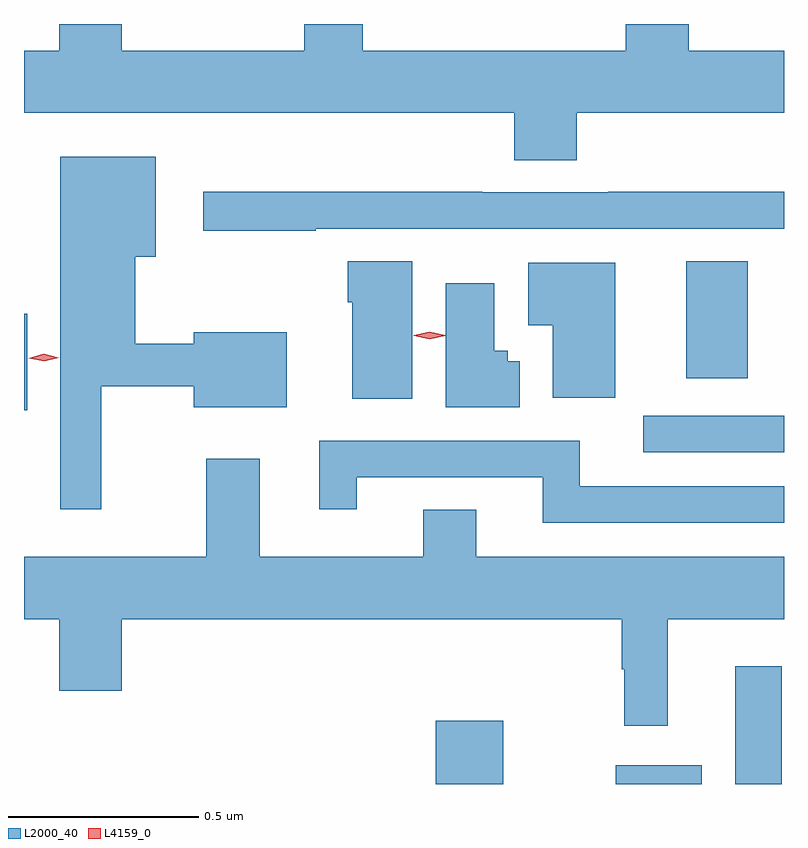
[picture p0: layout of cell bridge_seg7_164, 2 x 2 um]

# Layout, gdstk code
import gdstk
lib = gdstk.Library(unit=1e-6, precision=1e-09)
def R(c, l, rs):  # rectangles x0, y0, x1, y1
    for r in rs: c.add(gdstk.rectangle(r[:2], r[2:], *l))
def P(c, l, *ps):  # polygons
    for p in ps: c.add(gdstk.Polygon(p, *l))
L2000_40 = (2000, 40)
L4159_0 = (4159, 0)

bridge_seg7_164 = lib.new_cell('bridge_seg7_164')
R(bridge_seg7_164, L2000_40, [(477.686,1074.774,477.864,1074.94), (478.16,1074.774,478.387,1074.823), (478.475,1074.774,478.597,1075.084), (478.233,1075.647,478.603,1075.743), (476.603,1075.757,476.611,1076.011), (478.346,1075.842,478.507,1076.15)])
P(bridge_seg7_164, L2000_40, [(478.058,1076.54),(478.603,1076.54),(478.603,1076.704),(478.352,1076.704),(478.352,1076.774),(478.187,1076.774),(478.187,1076.704),(477.494,1076.704),(477.494,1076.774),(477.341,1076.774),(477.341,1076.704),(476.86,1076.704),(476.86,1076.774),(476.696,1076.774),(476.696,1076.704),(476.603,1076.704),(476.603,1076.54),(477.893,1076.54),(477.893,1076.416),(478.058,1076.416)],
  [(476.806,1075.821),(477.05,1075.821),(477.05,1075.766),(477.295,1075.766),(477.295,1075.963),(477.05,1075.963),(477.05,1075.932),(476.896,1075.932),(476.896,1076.162),(476.95,1076.162),(476.95,1076.425),(476.699,1076.425),(476.699,1075.497),(476.806,1075.497)],
  [(477.371,1076.235),(478.603,1076.235),(478.603,1076.333),(478.141,1076.333),(478.141,1076.331),(477.809,1076.331),(477.809,1076.333),(477.075,1076.333),(477.075,1076.23),(477.371,1076.23)],
  [(477.625,1076.15),(477.455,1076.15),(477.455,1076.042),(477.467,1076.042),(477.467,1075.788),(477.625,1075.788)],
  [(478.159,1076.146),(477.93,1076.146),(477.93,1075.981),(477.995,1075.981),(477.995,1075.791),(478.159,1075.791)],
  [(477.907,1075.886),(477.876,1075.886),(477.876,1075.914),(477.841,1075.914),(477.841,1076.092),(477.713,1076.092),(477.713,1075.766),(477.907,1075.766)],
  [(478.603,1075.557),(478.066,1075.557),(478.066,1075.677),(477.38,1075.677),(477.38,1075.497),(477.478,1075.497),(477.478,1075.581),(477.968,1075.581),(477.968,1075.461),(478.603,1075.461)],
  [(478.297,1075.208),(478.603,1075.208),(478.603,1075.372),(477.793,1075.372),(477.793,1075.496),(477.653,1075.496),(477.653,1075.372),(477.223,1075.372),(477.223,1075.63),(477.083,1075.63),(477.083,1075.372),(476.603,1075.372),(476.603,1075.208),(476.696,1075.208),(476.696,1075.02),(476.86,1075.02),(476.86,1075.208),(478.176,1075.208),(478.176,1075.076),(478.183,1075.076),(478.183,1074.927),(478.297,1074.927)])
P(bridge_seg7_164, L4159_0, [(477.671,1075.944),(477.629,1075.954),(477.629,1075.954),(477.629,1075.955),(477.671,1075.964),(477.712,1075.955),(477.712,1075.954),(477.712,1075.954)],
  [(476.656,1075.886),(476.616,1075.895),(476.616,1075.895),(476.616,1075.895),(476.655,1075.906),(476.695,1075.896),(476.695,1075.896),(476.695,1075.896)])

lib.write_gds('bridge_seg7_164.gds')
